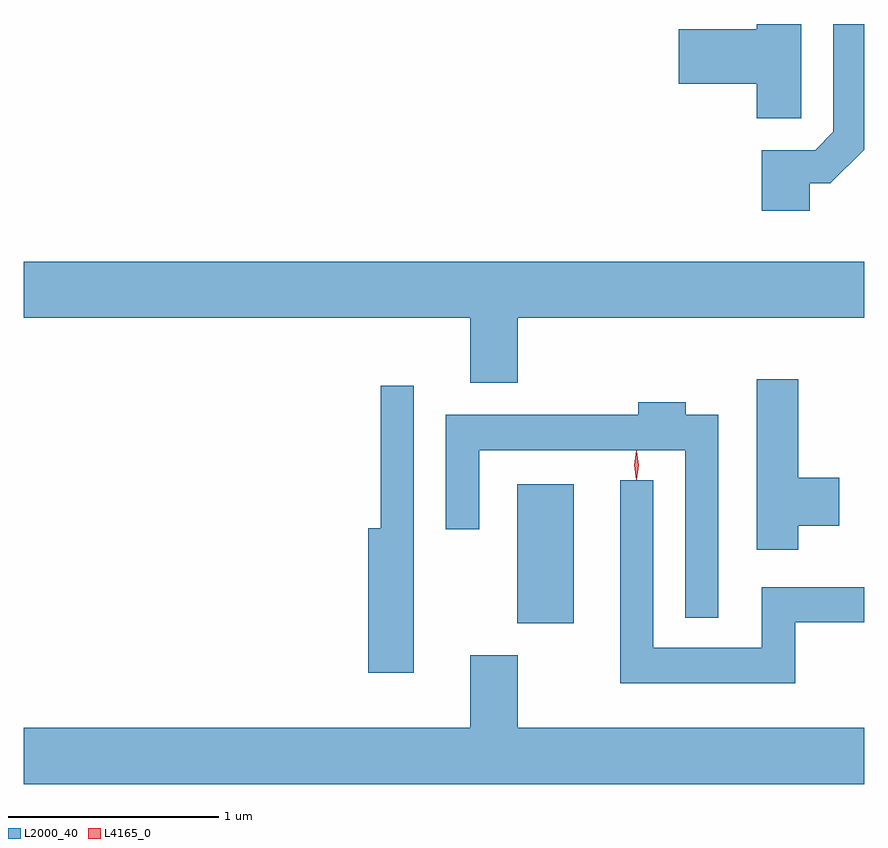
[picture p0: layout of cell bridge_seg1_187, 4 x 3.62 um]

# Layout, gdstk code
import gdstk
lib = gdstk.Library(unit=1e-6, precision=1e-09)
def R(c, l, rs):  # rectangles x0, y0, x1, y1
    for r in rs: c.add(gdstk.rectangle(r[:2], r[2:], *l))
def P(c, l, *ps):  # polygons
    for p in ps: c.add(gdstk.Polygon(p, *l))
L2000_40 = (2000, 40)
L4165_0 = (4165, 0)

bridge_seg1_187 = lib.new_cell('bridge_seg1_187')
R(bridge_seg1_187, L2000_40, [(766.196,942.521,766.464,943.184)])
P(bridge_seg1_187, L2000_40, [(767.549,945.375),(767.336,945.375),(767.336,945.349),(766.966,945.349),(766.966,945.091),(767.336,945.091),(767.336,944.926),(767.549,944.926)],
  [(767.589,944.616),(767.687,944.616),(767.847,944.777),(767.847,945.375),(767.701,945.375),(767.701,944.862),(767.614,944.774),(767.361,944.774),(767.361,944.486),(767.589,944.486)],
  [(766.199,943.976),(767.847,943.976),(767.847,944.244),(763.847,944.244),(763.847,943.976),(765.971,943.976),(765.971,943.666),(766.199,943.666)],
  [(767.534,942.986),(767.729,942.986),(767.729,943.214),(767.534,943.214),(767.534,943.684),(767.336,943.684),(767.336,942.871),(767.534,942.871)],
  [(765.704,943.653),(765.546,943.653),(765.546,942.974),(765.486,942.974),(765.486,942.286),(765.704,942.286)],
  [(767.154,943.514),(766.999,943.514),(766.999,943.574),(766.771,943.574),(766.771,943.514),(765.856,943.514),(765.856,942.968),(766.014,942.968),(766.014,943.346),(766.996,943.346),(766.996,942.548),(767.154,942.548)],
  [(767.519,942.526),(767.847,942.526),(767.847,942.694),(767.361,942.694),(767.361,942.404),(766.844,942.404),(766.844,943.203),(766.686,943.203),(766.686,942.236),(767.519,942.236)],
  [(767.847,942.024),(766.199,942.024),(766.199,942.369),(765.971,942.369),(765.971,942.024),(763.847,942.024),(763.847,941.756),(767.847,941.756)])
P(bridge_seg1_187, L4165_0, [(766.763,943.204),(766.763,943.204),(766.753,943.273),(766.763,943.342),(766.763,943.343),(766.764,943.342),(766.773,943.273),(766.764,943.204)],
  [(766.763,943.207),(766.754,943.274),(766.763,943.34),(766.764,943.34),(766.764,943.34),(766.774,943.274),(766.764,943.207),(766.764,943.207)])

lib.write_gds('bridge_seg1_187.gds')
